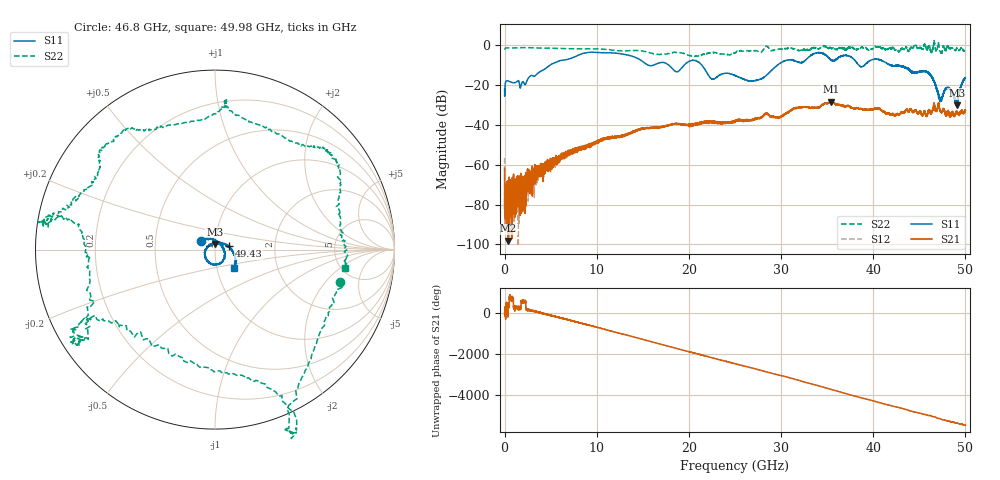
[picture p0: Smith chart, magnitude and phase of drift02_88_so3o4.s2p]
!Created with skrf (http://scikit-rf.org).
# Hz S RI R 50.0
!freq ReS11 ImS11 ReS21 ImS21 ReS12 ImS12 ReS22 ImS22
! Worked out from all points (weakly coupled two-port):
!   10001 points, 300 kHz to 50 GHz, reference 50 ohm
!   highest |S21| = -28.40 dB at 35.39 GHz (marker M1); lowest = -98.2 dB at 385.3 MHz (marker M2)
!   lowest |S11| = -30.3 dB at 49.06 GHz (marker M3), VSWR 1.06, Z = 49.7 + j3.05 ohm
!   |S11| at or under -10 dB: start of sweep to 4.956 GHz; 21.38 GHz to 29.63 GHz (8.248 GHz wide, 32.3 % of centre); 41.84 GHz to end of sweep (the widest 3 of 11)
!   |S22| runs from -5.7 to 2.3 dB; largest |S21 - S12| = 0.0049
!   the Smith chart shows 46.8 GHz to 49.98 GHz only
!   S11 on the Smith chart (normalised r, x): 46.8 GHz: 0.85, +0.08; 49.43 GHz: 1.17, +0.05; 49.98 GHz: 1.21, -0.26
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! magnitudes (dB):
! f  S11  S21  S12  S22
! 300 kHz  -22.0  -61.8  -56.7  -2.0
! 385.3 MHz  -18.1  -98.2  -76.5  -1.4
! 1.875 GHz  -19.0  -71.9  -68.1  -1.3
! 3.685 GHz  -13.9  -62.2  -62.4  -1.5
! 8.335 GHz  -4.5  -51.9  -51.4  -1.9
! 16.67 GHz  -9.1  -41.3  -41.2  -4.7
! 18.71 GHz  -13.4  -39.7  -39.4  -3.7
! 20.6 GHz  -7.7  -39.6  -40.0  -5.7
! 22.51 GHz  -17.1  -38.7  -38.5  -3.7
! 25 GHz  -15.3  -38.2  -38.0  -3.9
! 27.5 GHz  -17.5  -36.6  -36.6  -3.2
! 33.34 GHz  -4.9  -31.4  -31.3  -1.5
! 35.39 GHz  -7.3  -28.4  -28.6  -1.4
! 41.67 GHz  -9.6  -34.3  -34.3  -2.0
! 45.79 GHz  -13.6  -35.6  -35.7  -2.3
! 46.8 GHz  -20.6  -33.0  -33.1  -2.9
! 47.28 GHz  -27.4  -32.8  -32.8  -3.3
! 48.11 GHz  -21.5  -33.0  -33.2  -0.7
! 49.06 GHz  -30.3  -34.1  -33.7  -1.7
! 49.43 GHz  -21.9  -34.4  -33.9  -2.2
! 49.98 GHz  -16.5  -33.0  -33.0  -2.7
! 50 GHz  -16.4  -32.6  -32.5  -2.7
